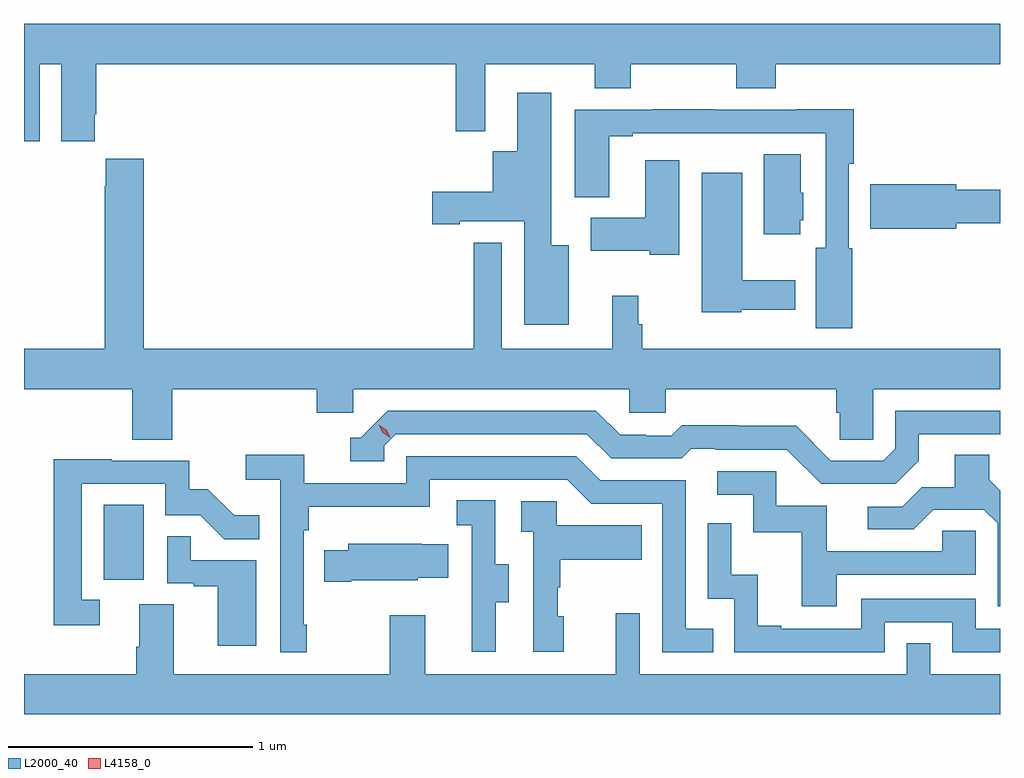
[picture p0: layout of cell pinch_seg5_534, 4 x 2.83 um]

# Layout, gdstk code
import gdstk
lib = gdstk.Library(unit=1e-6, precision=1e-09)
def R(c, l, rs):  # rectangles x0, y0, x1, y1
    for r in rs: c.add(gdstk.rectangle(r[:2], r[2:], *l))
def P(c, l, *ps):  # polygons
    for p in ps: c.add(gdstk.Polygon(p, *l))
L2000_40 = (2000, 40)
L4158_0 = (4158, 0)

pinch_seg5_534 = lib.new_cell('pinch_seg5_534')
R(pinch_seg5_534, L2000_40, [(983.39,838.662,983.554,838.969)])
P(pinch_seg5_534, L2000_40, [(983.128,840.776),(983.216,840.776),(983.216,840.459),(983.353,840.459),(983.353,840.571),(983.36,840.571),(983.36,840.776),(984.834,840.776),(984.834,840.501),(984.955,840.501),(984.955,840.776),(985.403,840.776),(985.403,840.677),(985.551,840.677),(985.551,840.776),(985.984,840.776),(985.984,840.677),(986.144,840.677),(986.144,840.776),(987.064,840.776),(987.064,840.94),(983.064,840.94),(983.064,840.459),(983.128,840.459)],
  [(985.297,840.034),(985.225,840.034),(985.225,840.658),(985.085,840.658),(985.085,840.418),(984.986,840.418),(984.986,840.253),(984.738,840.253),(984.738,840.119),(984.85,840.119),(984.85,840.131),(985.115,840.131),(985.115,839.708),(985.297,839.708)],
  [(986.459,840.021),(986.445,840.021),(986.445,840.367),(986.465,840.367),(986.465,840.59),(986.227,840.59),(986.227,840.588),(985.895,840.588),(985.895,840.59),(985.639,840.59),(985.639,840.588),(985.322,840.588),(985.322,840.23),(985.462,840.23),(985.462,840.48),(985.558,840.48),(985.558,840.492),(986.349,840.492),(986.349,840.022),(986.309,840.022),(986.309,839.693),(986.459,839.693)],
  [(986.246,840.135),(986.257,840.135),(986.257,840.249),(986.248,840.249),(986.248,840.407),(986.096,840.407),(986.096,840.078),(986.246,840.078)],
  [(983.672,839.444),(984.263,839.444),(984.263,839.346),(984.414,839.346),(984.414,839.444),(985.545,839.444),(985.545,839.346),(985.695,839.346),(985.695,839.444),(986.393,839.444),(986.393,839.346),(986.407,839.346),(986.407,839.236),(986.544,839.236),(986.544,839.444),(987.064,839.444),(987.064,839.608),(985.597,839.608),(985.597,839.709),(985.582,839.709),(985.582,839.827),(985.475,839.827),(985.475,839.608),(985.023,839.608),(985.023,840.043),(984.907,840.043),(984.907,839.608),(983.555,839.608),(983.555,840.388),(983.399,840.388),(983.399,840.275),(983.395,840.275),(983.395,839.608),(983.064,839.608),(983.064,839.444),(983.507,839.444),(983.507,839.236),(983.672,839.236)],
  [(985.75,840.382),(985.61,840.382),(985.61,840.145),(985.386,840.145),(985.386,840.011),(985.629,840.011),(985.629,839.995),(985.75,839.995)],
  [(986.004,839.768),(986.224,839.768),(986.224,839.89),(986.008,839.89),(986.008,840.331),(985.841,840.331),(985.841,839.759),(986.004,839.759)],
  [(986.884,840.124),(987.064,840.124),(987.064,840.26),(986.884,840.26),(986.884,840.284),(986.532,840.284),(986.532,840.101),(986.884,840.101)],
  [(986.731,839.149),(986.731,839.259),(987.064,839.259),(987.064,839.355),(986.634,839.355),(986.634,839.199),(986.586,839.151),(986.37,839.151),(986.228,839.293),(985.992,839.293),(985.992,839.296),(985.759,839.296),(985.717,839.253),(985.614,839.253),(985.614,839.256),(985.507,839.256),(985.408,839.355),(984.555,839.355),(984.444,839.244),(984.401,839.244),(984.401,839.148),(984.54,839.148),(984.54,839.211),(984.588,839.259),(985.371,839.259),(985.47,839.16),(985.759,839.16),(985.798,839.199),(985.897,839.199),(985.897,839.196),(986.19,839.196),(986.331,839.055),(986.637,839.055)],
  [(987.064,839.027),(987.019,839.072),(987.019,839.174),(986.879,839.174),(986.879,839.042),(986.744,839.042),(986.664,838.962),(986.523,838.962),(986.523,838.869),(986.71,838.869),(986.791,838.95),(986.997,838.95),(987.054,838.893),(987.054,838.554),(987.064,838.554)],
  [(984.223,838.477),(984.21,838.477),(984.21,838.865),(984.23,838.865),(984.23,838.961),(984.726,838.961),(984.726,839.073),(985.29,839.073),(985.389,838.974),(985.68,838.974),(985.68,838.365),(985.889,838.365),(985.889,838.461),(985.776,838.461),(985.776,839.07),(985.426,839.07),(985.327,839.169),(984.63,839.169),(984.63,839.058),(984.212,839.058),(984.212,839.174),(983.973,839.174),(983.973,839.072),(984.114,839.072),(984.114,838.365),(984.223,838.365)],
  [(983.374,838.581),(983.301,838.581),(983.301,839.055),(983.643,839.055),(983.643,838.926),(983.787,838.926),(983.885,838.828),(984.029,838.828),(984.029,838.927),(983.925,838.927),(983.818,839.034),(983.742,839.034),(983.742,839.151),(983.423,839.151),(983.423,839.156),(983.185,839.156),(983.185,838.476),(983.374,838.476)],
  [(986.395,838.683),(986.964,838.683),(986.964,838.863),(986.827,838.863),(986.827,838.779),(986.353,838.779),(986.353,838.965),(986.148,838.965),(986.148,839.106),(985.905,839.106),(985.905,839.01),(986.052,839.01),(986.052,838.857),(986.251,838.857),(986.251,838.554),(986.395,838.554)],
  [(984.997,838.57),(985.051,838.57),(985.051,838.725),(984.996,838.725),(984.996,838.988),(984.837,838.988),(984.837,838.885),(984.9,838.885),(984.9,838.581),(984.899,838.581),(984.899,838.368),(984.997,838.368)],
  [(985.276,838.512),(985.251,838.512),(985.251,838.631),(985.261,838.631),(985.261,838.745),(985.595,838.745),(985.595,838.885),(985.248,838.885),(985.248,838.983),(985.101,838.983),(985.101,838.859),(985.152,838.859),(985.152,838.368),(985.276,838.368)],
  [(986.592,838.488),(986.868,838.488),(986.868,838.365),(987.064,838.365),(987.064,838.461),(986.964,838.461),(986.964,838.584),(986.496,838.584),(986.496,838.461),(986.167,838.461),(986.167,838.474),(986.072,838.474),(986.072,838.682),(985.962,838.682),(985.962,838.894),(985.866,838.894),(985.866,838.584),(985.974,838.584),(985.974,838.365),(986.592,838.365)],
  [(984.016,838.743),(983.747,838.743),(983.747,838.841),(983.652,838.841),(983.652,838.647),(983.759,838.647),(983.759,838.635),(983.858,838.635),(983.858,838.392),(984.016,838.392)],
  [(984.406,838.661),(984.678,838.661),(984.678,838.67),(984.803,838.67),(984.803,838.807),(984.695,838.807),(984.695,838.81),(984.393,838.81),(984.393,838.783),(984.295,838.783),(984.295,838.654),(984.406,838.654)],
  [(983.537,838.562),(983.537,838.388),(983.525,838.388),(983.525,838.276),(983.064,838.276),(983.064,838.112),(987.064,838.112),(987.064,838.276),(986.778,838.276),(986.778,838.403),(986.682,838.403),(986.682,838.276),(985.587,838.276),(985.587,838.525),(985.49,838.525),(985.49,838.276),(984.709,838.276),(984.709,838.516),(984.562,838.516),(984.562,838.276),(983.677,838.276),(983.677,838.562)])
P(pinch_seg5_534, L4158_0, [(984.564,839.245),(984.534,839.265),(984.518,839.298),(984.518,839.298),(984.518,839.298),(984.549,839.278),(984.565,839.246),(984.565,839.245)])

lib.write_gds('pinch_seg5_534.gds')
